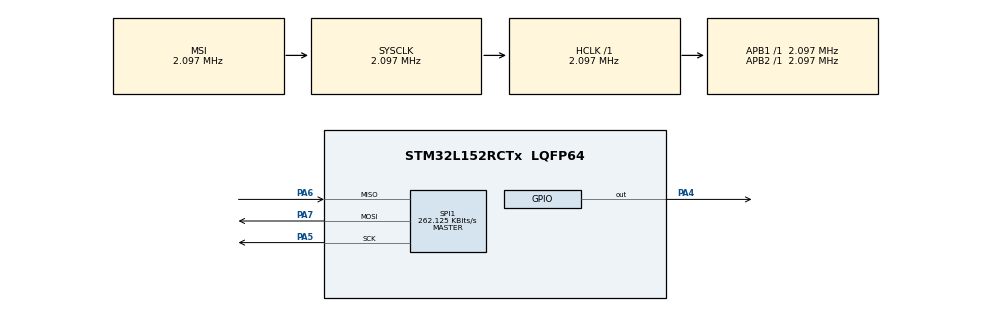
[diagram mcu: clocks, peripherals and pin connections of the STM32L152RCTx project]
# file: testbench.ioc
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Mcu.Family=STM32L1
RCC.MSI_VALUE=2097000
RCC.VCOOutputFreq_Value=48000000
PA6.Mode=Full_Duplex_Master
RCC.APB2Freq_Value=2097000
PA7.Mode=Full_Duplex_Master
SPI1.Mode=SPI_MODE_MASTER
SPI1.VirtualType=VM_MASTER
Mcu.Name=STM32L152RCTx
PA4.Signal=GPIO_Output
RCC.SYSCLKFreq_VALUE=2097000
Mcu.Package=LQFP64
PA6.Signal=SPI1_MISO
ProjectManager.StackSize=0x400
ProjectManager.HeapSize=0x200
ProjectManager.TargetToolchain=EWARM V8.32
RCC.HSI_VALUE=16000000
NVIC.PriorityGroup=NVIC_PRIORITYGROUP_4
SPI1.Direction=SPI_DIRECTION_2LINES
SPI1.CalculateBaudRate=262.125 KBits/s
RCC.APB1Freq_Value=2097000
RCC.LSE_VALUE=32768
SPI1.BaudRatePrescaler=SPI_BAUDRATEPRESCALER_8
RCC.AHBFreq_Value=2097000
PA5.Signal=SPI1_SCK
RCC.HSE_VALUE=24000000
PA7.Signal=SPI1_MOSI
PA5.Mode=Full_Duplex_Master
board=custom

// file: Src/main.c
/* USER CODE BEGIN Header */
/**
  ******************************************************************************
  * @file           : main.c
  * @brief          : Main program body
  ******************************************************************************
  * @attention
  *
  * <h2><center>&copy; Copyright (c) 2020 STMicroelectronics.
  * All rights reserved.</center></h2>
  *
  * This software component is licensed by ST under BSD 3-Clause license,
  * the "License"; You may not use this file except in compliance with the
  * License. You may obtain a copy of the License at:
  *                        opensource.org/licenses/BSD-3-Clause
  *
  ******************************************************************************
  */
/* USER CODE END Header */

#include "main.h"
#include "spi.h"
#include "gpio.h"

void SystemClock_Config(void);

/* USER CODE BEGIN 0 */

//FRF = 14226227
///int32_t  Ferr = 4000;
uint32_t Ftarget = 868300000 - 4000;
uint32_t frf = 0;
#define AFC

void SX1976_OnRX(uint8_t discard);
void SX1976_AFC(int32_t ferr);

#define SX1976_FRF_READ_MSB 0x06
#define SX1976_FRF_READ_MID 0x07
#define SX1976_FRF_READ_LSB 0x08

#define SX1976_FRF_WRITE_MSB 0x86
#define SX1976_FRF_WRITE_MID 0x87
#define SX1976_FRF_WRITE_LSB 0x88

//FRF = 14226227
#define FRF_868_3_MHZ_MSB 0xD9
#define FRF_868_3_MHZ_MID 0x13
#define FRF_868_3_MHZ_LSB 0x33

#define SX1976_FSK_PA_BOOST_READ 0x4d
#define SX1976_FSK_PA_BOOST_WRITE 0xcd

#define SX1976_FSK_PA_BOOST_ON 0x87
#define SX1976_FSK_PA_BOOST_OFF 0x84

#define SX1976_OP_MODE_READ 0x01
#define SX1976_OP_MODE_WRITE 0x81

#define OP_MODE_SLEEP 0x00
#define OP_MODE_STDBY 0x01
#define OP_MODE_TX    0x03
#define OP_MODE_RX_CONT    0x05
#define OP_MODE_RX_SINGLE    0x06
#define OP_MODE_CAD    0x07

#define OP_MODE_LF    0x08
#define OP_MODE_HF   0x00

#define OP_MODE_LORA   0x80

#define SX1976_PA_SELECT_READ 0x09
#define SX1976_PA_SELECT_WRITE 0x89

#define PA_SELECT_BOOST   0x80
#define PA_SELECT_NO_BOOST   0x00

#define PA_SELECT_NO_BOOST_MINUS_4dBm    0x00 // Pout=10.8-(15-OutputPower)
#define PA_SELECT_NO_BOOST_MINUS_3dBm    0x01 // Pout=10.8-(15-OutputPower)
#define PA_SELECT_NO_BOOST_MINUS_2dBm    0x02 // Pout=10.8-(15-OutputPower)
#define PA_SELECT_NO_BOOST_MINUS_1dBm    0x03 // Pout=10.8-(15-OutputPower)
#define PA_SELECT_NO_BOOST_0dBm    0x04 // Pout=10.8-(15-OutputPower)
#define PA_SELECT_NO_BOOST_1dBm    0x05 // Pout=10.8-(15-OutputPower)
#define PA_SELECT_NO_BOOST_2dBm    0x06 // Pout=10.8-(15-OutputPower)
#define PA_SELECT_NO_BOOST_3dBm    0x07 // Pout=10.8-(15-OutputPower)
#define PA_SELECT_NO_BOOST_4dBm    0x08 // Pout=10.8-(15-OutputPower)
#define PA_SELECT_NO_BOOST_5dBm    0x09 // Pout=10.8-(15-OutputPower)
#define PA_SELECT_NO_BOOST_6dBm    0x0a // Pout=10.8-(15-OutputPower)
#define PA_SELECT_NO_BOOST_7dBm    0x0b // Pout=10.8-(15-OutputPower)
#define PA_SELECT_NO_BOOST_8dBm    0x0c // Pout=10.8-(15-OutputPower)
#define PA_SELECT_NO_BOOST_9dBm    0x0d // Pout=10.8-(15-OutputPower)
#define PA_SELECT_NO_BOOST_10dBm    0x0e // Pout=10.8-(15-OutputPower)
#define PA_SELECT_NO_BOOST_11dBm    0x0f // Pout=10.8-(15-OutputPower)

#define PA_SELECT_BOOST_2dBm    0x00 // Pout=17-(15-OutputPower)
#define PA_SELECT_BOOST_3dBm    0x01 // Pout=17-(15-OutputPower)
#define PA_SELECT_BOOST_4dBm    0x02 // Pout=17-(15-OutputPower)
#define PA_SELECT_BOOST_5dBm    0x03 // Pout=17-(15-OutputPower)
#define PA_SELECT_BOOST_6dBm    0x04 // Pout=17-(15-OutputPower)
#define PA_SELECT_BOOST_7dBm    0x05 // Pout=17-(15-OutputPower)
#define PA_SELECT_BOOST_8dBm    0x06 // Pout=17-(15-OutputPower)
#define PA_SELECT_BOOST_9dBm    0x07 // Pout=17-(15-OutputPower)
#define PA_SELECT_BOOST_10dBm    0x08 // Pout=17-(15-OutputPower)
#define PA_SELECT_BOOST_11dBm    0x09 // Pout=17-(15-OutputPower)
#define PA_SELECT_BOOST_12dBm    0x0a // Pout=17-(15-OutputPower)
#define PA_SELECT_BOOST_13dBm    0x0b // Pout=17-(15-OutputPower)
#define PA_SELECT_BOOST_14dBm    0x0c // Pout=17-(15-OutputPower)
#define PA_SELECT_BOOST_15dBm    0x0d // Pout=17-(15-OutputPower)
#define PA_SELECT_BOOST_16dBm    0x0e // Pout=17-(15-OutputPower)
#define PA_SELECT_BOOST_17dBm    0x0f // Pout=17-(15-OutputPower)

#define SX1976_OCP_READ 0x0B
#define SX1976_OCP_WRITE 0x8B

#define SX1976_OCP_ON 0x20
#define SX1976_OCP_TRIM_240ma 27
#define SX1976_OCP_TRIM_230ma 26
#define SX1976_OCP_TRIM_220ma 25
#define SX1976_OCP_TRIM_210ma 24
#define SX1976_OCP_TRIM_200ma 23
#define SX1976_OCP_TRIM_190ma 22
#define SX1976_OCP_TRIM_180ma 21
#define SX1976_OCP_TRIM_170ma 20
#define SX1976_OCP_TRIM_160ma 19
#define SX1976_OCP_TRIM_150ma 18
#define SX1976_OCP_TRIM_140ma 17
#define SX1976_OCP_TRIM_130ma 16
#define SX1976_OCP_TRIM_120ma 15
#define SX1976_OCP_TRIM_115ma 14
#define SX1976_OCP_TRIM_110ma 13
#define SX1976_OCP_TRIM_105ma 12
#define SX1976_OCP_TRIM_100ma 11

#define SX1976_LNA_READ 0x0C
#define SX1976_LNA_WRITE 0x8C

#define SX1976_LNA_BOOST_HF_ON 0x03
#define SX1976_LNA_BOOST_HF_OFF 0x00

#define SX1976_LNA_GAIN_HIGHEST 0x20
#define SX1976_LNA_GAIN_G1 0x20
#define SX1976_LNA_GAIN_G2 0x40
#define SX1976_LNA_GAIN_G3 0x60
#define SX1976_LNA_GAIN_G4 0x80
#define SX1976_LNA_GAIN_G5 0xa0
#define SX1976_LNA_GAIN_G6 0xc0
#define SX1976_LNA_GAIN_LOWEST 0xc0

#define SX1976_DIO_MAPPING1_READ 0x40
#define SX1976_DIO_MAPPING1_WRITE 0xC0
#define SX1976_DIO0_RX_DONE 0x00
#define SX1976_DIO0_TX_DONE 0x40
#define SX1976_DIO0_CAD_DONE 0x80

#define SX1976_MODEM_CONFIG1_READ 0x1D
#define SX1976_MODEM_CONFIG1_WRITE 0x9D

#define MODEM_CONFIG1_HM_EXPLICIT 0x00
#define MODEM_CONFIG1_HM_IMPLICIT 0x01
#define MODEM_CONFIG1_BW_125khz 0x70
#define MODEM_CONFIG1_CR_4_5 0x02

#define SX1976_MODEM_CONFIG2_READ 0x1E
#define SX1976_MODEM_CONFIG2_WRITE 0x9E

#define MODEM_CONFIG2_CRC_ON 0x04
#define MODEM_CONFIG2_CRC_OFF 0x00

#define MODEM_CONFIG2_SF_64 0x60
#define MODEM_CONFIG2_SF_128 0x70
#define MODEM_CONFIG2_SF_256 0x80
#define MODEM_CONFIG2_SF_512 0x90
#define MODEM_CONFIG2_SF_1024 0xa0
#define MODEM_CONFIG2_SF_2048 0xb0
#define MODEM_CONFIG2_SF_4096 0xc0

#define SX1976_MODEM_CONFIG3_READ 0x26
#define SX1976_MODEM_CONFIG3_WRITE 0xa6

#define MODEM_CONFIG3_AGC_ON 0x04
#define MODEM_CONFIG3_AGC_OFF 0x00
#define MODEM_CONFIG3_LDR_OPT 0x08
#define MODEM_CONFIG3_NO_LDR_OPT 0x00

#define SX1976_PAYLOAD_LEN_READ 0x22
#define SX1976_PAYLOAD_LEN_WRITE 0xA2

#define SX1976_MAX_PAYLOAD_LEN_READ 0x23
#define SX1976_MAX_PAYLOAD_LEN_WRITE 0xA3

#define SX1976_FIFO_ADDR_PTR_READ 0x0D
#define SX1976_FIFO_ADDR_PTR_WRITE 0x8D

#define SX1976_FIFO_ADDR_RX_BASE_READ 0x0F
#define SX1976_FIFO_ADDR_RX_BASE_WRITE 0x8F

#define SX1976_FIFO_ADDR_TX_BASE_READ 0x0E
#define SX1976_FIFO_ADDR_TX_BASE_WRITE 0x8E

#define SX1976_FIFO_ADDR_RX_CURRENT_READ 0x10
#define SX1976_FIFO_ADDR_RX_CURRENT_WRITE 0x90

#define SX1976_FIFO_RX_BYTES_NB_READ 0x13
#define SX1976_FIFO_RX_BYTES_NB_WRITE 0x93

#define SX1976_IRQ_FLAGS_READ 0x12
#define SX1976_IRQ_FLAGS_WRITE 0x92

#define IRQ_RX_TIMEOUT 0x80
#define IRQ_RX_DONE 0x40
#define IRQ_PAYLOAD_CRC_ERROR 0x20
#define IRQ_VALID_HEADER 0x10
#define IRQ_TX_DONE 0x08
#define IRQ_CAD_DONE 0x04
#define IRQ_FHSS_CHANGE_CHANNEL 0x02
#define IRQ_CAD_DETECTED 0x01

#define SX1976_FIFO_READ 0x00
#define SX1976_FIFO_WRITE 0x80

#define SX1976_PKT_SNR 0x19
#define SX1976_PKT_RSSI 0x1A

#define SX1976_FEI_LSB 0x2A
#define SX1976_FEI_MID 0x29
#define SX1976_FEI_MSB 0x28

#define SX1976_PPM_CORRECTION 0x27

void SX1976_OnTX(void);
void SX1976_Poll(void);

static void write_and_retry(uint8_t addr, uint8_t val) {
  while(1) {
    // Write
    uint8_t outputBuffer[2] = {addr | 0x80, val};
    uint8_t inputBuffer[1] = {0};

    HAL_GPIO_WritePin(GPIOA, GPIO_PIN_4, GPIO_PIN_RESET);
    if (HAL_SPI_Transmit(&hspi1, outputBuffer, 2, 1000) != HAL_OK) {
      Error_Handler();
    }
    HAL_GPIO_WritePin(GPIOA, GPIO_PIN_4, GPIO_PIN_SET);

    // Verify
    HAL_GPIO_WritePin(GPIOA, GPIO_PIN_4, GPIO_PIN_RESET);
    outputBuffer[0] = addr;
    if (HAL_SPI_Transmit(&hspi1, outputBuffer, 1, 1000) != HAL_OK) {
      Error_Handler();
    }
    if (HAL_SPI_Receive (&hspi1, inputBuffer, 1, 1000) != HAL_OK) {
      Error_Handler();
    }
    HAL_GPIO_WritePin(GPIOA, GPIO_PIN_4, GPIO_PIN_SET);
    if (inputBuffer[0] == val) {
      break;
    }
  }
}

static void write_and_verify(uint8_t addr, uint8_t val) {
  // Write
  uint8_t outputBuffer[2] = {addr | 0x80, val};
  uint8_t inputBuffer[1] = {0};

  HAL_GPIO_WritePin(GPIOA, GPIO_PIN_4, GPIO_PIN_RESET);
  if (HAL_SPI_Transmit(&hspi1, outputBuffer, 2, 1000) != HAL_OK) {
    Error_Handler();
  }
  HAL_GPIO_WritePin(GPIOA, GPIO_PIN_4, GPIO_PIN_SET);

  // Verify
  HAL_GPIO_WritePin(GPIOA, GPIO_PIN_4, GPIO_PIN_RESET);
  outputBuffer[0] = addr;
  if (HAL_SPI_Transmit(&hspi1, outputBuffer, 1, 1000) != HAL_OK) {
    Error_Handler();
  }
  if (HAL_SPI_Receive (&hspi1, inputBuffer, 1, 1000) != HAL_OK) {
    Error_Handler();
  }
  HAL_GPIO_WritePin(GPIOA, GPIO_PIN_4, GPIO_PIN_SET);
  if (inputBuffer[0] != val) {
    Error_Handler();
  }
}

static uint8_t read(uint8_t addr) {
  uint8_t outputBuffer[1] = {addr};
  uint8_t inputBuffer[1] = {0};

  // Read
  HAL_GPIO_WritePin(GPIOA, GPIO_PIN_4, GPIO_PIN_RESET);
  if (HAL_SPI_Transmit(&hspi1, outputBuffer, 1, 1000) != HAL_OK) {
    Error_Handler();
  }
  if (HAL_SPI_Receive (&hspi1, inputBuffer, 1, 1000) != HAL_OK) {
    Error_Handler();
  }
  HAL_GPIO_WritePin(GPIOA, GPIO_PIN_4, GPIO_PIN_SET);

  return inputBuffer[0];
}

static void write(uint8_t addr, uint8_t val) {
  uint8_t outputBuffer[2] = {addr | 0x80, val};

  // Read
  HAL_GPIO_WritePin(GPIOA, GPIO_PIN_4, GPIO_PIN_RESET);
  if (HAL_SPI_Transmit(&hspi1, outputBuffer, 2, 1000) != HAL_OK) {
    Error_Handler();
  }
  HAL_GPIO_WritePin(GPIOA, GPIO_PIN_4, GPIO_PIN_SET);
}

uint8_t tx = 1;

void SX1976_Poll(void)
{
    // Read Int Flags
    uint8_t flags = read(SX1976_IRQ_FLAGS_READ);

    if (flags & IRQ_RX_DONE) {
      SX1976_OnRX(flags & IRQ_PAYLOAD_CRC_ERROR);
    }
    if (flags & IRQ_TX_DONE) {
      SX1976_OnTX();
    }
    // Reset IRQs
    write(SX1976_IRQ_FLAGS_READ, flags);
    if (tx) {
      // Go to TX
      write_and_retry(SX1976_OP_MODE_READ, OP_MODE_TX | OP_MODE_HF | OP_MODE_LORA);
    }
}

void SX1976_RX_Reset(void) {
  // Configure FIFO buffer ptr to be set to RX Base Addr
  write_and_verify(SX1976_FIFO_ADDR_PTR_READ, 0x00);
  // Configure RX Current Write to be aligned as well
  write_and_verify(SX1976_FIFO_ADDR_RX_CURRENT_READ, 0x00);
}

void SX1976_TX_Reset(void) {
  // Configure FIFO buffer ptr to be set to RX Base Addr
  write_and_verify(SX1976_FIFO_ADDR_PTR_READ, 0x80);
}

uint8_t counter = 0;
void SX1976_OnTX(void) {
  uint8_t outputBuffer[17] = {0,12,34,56,78,0,0,0,0,0,0,0,0,0,0,0,counter++};
  // move Ptr to beginning of mem
  write(SX1976_FIFO_ADDR_PTR_READ, 0x80);

  HAL_GPIO_WritePin(GPIOA, GPIO_PIN_4, GPIO_PIN_RESET);
  outputBuffer[0] = SX1976_FIFO_WRITE;
  if (HAL_SPI_Transmit(&hspi1, outputBuffer, 17, 1000) != HAL_OK) {
    Error_Handler();
  }
  HAL_GPIO_WritePin(GPIOA, GPIO_PIN_4, GPIO_PIN_SET);
}

int32_t Ferr_old = 100000; // moved by 100000 to positive side to avoid issues while calc IIR.
uint8_t suspend_afr = 16;

void SX1976_OnRX(uint8_t discard) {
  uint8_t outputBuffer[2] = {0,0};
  uint8_t inputBuffer[16] = {0,0,0,0,0,0,0,0,0,0,0,0,0,0,0,0};
  // Read Current Addr
  uint8_t currentAddr = read(SX1976_FIFO_ADDR_RX_CURRENT_READ);

  // move Ptr to current addr
  write(SX1976_FIFO_ADDR_PTR_READ, currentAddr);

  // Read number of bytes
  uint8_t bytesCount = read(SX1976_FIFO_RX_BYTES_NB_READ);
  HAL_GPIO_WritePin(GPIOA, GPIO_PIN_4, GPIO_PIN_RESET);
  outputBuffer[0] = SX1976_FIFO_READ;
  if (HAL_SPI_Transmit(&hspi1, outputBuffer, 1, 1000) != HAL_OK) {
    Error_Handler();
  }
  // it should never be > packetSize?
  while (bytesCount > 0) {
    // Read Fifo
    if (HAL_SPI_Receive (&hspi1, inputBuffer, 16, 1000) != HAL_OK) {
      Error_Handler();
    }
    bytesCount -= 16;
  }
  HAL_GPIO_WritePin(GPIOA, GPIO_PIN_4, GPIO_PIN_SET);

  uint8_t rssi = read(SX1976_PKT_RSSI);
  int8_t snr = read(SX1976_PKT_RSSI);

  int16_t snrDb = snr / 4;
  int16_t rssiDb;
  if( snrDb >= 0) {
    rssiDb = -157 + rssi;
    if (rssiDb > -100) {
      // recalc with slope comp.
      rssiDb = -157 + ((16 * rssi) / 15);
    }
  } else {
    rssiDb = -157 + rssi + snrDb;
  }

  uint8_t fei_msb = read(SX1976_FEI_MSB);
  uint8_t fei_mid = read(SX1976_FEI_MID);
  uint8_t fei_lsb = read(SX1976_FEI_LSB);

  int32_t fei = (((fei_msb & 0x0f) << 28) | (fei_mid << 20) | (fei_lsb << 12));
  fei = fei >> 12;
  // Move to positive side to avoid issues while crossing zero
  int32_t Ferr = (fei * 100) / 764  + 100000;

#ifdef AFC
  // dont use AFC if we have bad CRC, we will re-enable it once we will have stable link, i.e. 16 non-errored packets.
  if (discard != 0) {
    suspend_afr = 16;
  }
  if (discard == 0 && suspend_afr > 0) {
    suspend_afr--;
  }
  //
  if (suspend_afr == 0) {
    // IIR filter Ferr with Coeff 8
    Ferr_old = (Ferr_old * 7 + Ferr) / 8;
    //
    SX1976_AFC(Ferr_old - 100000);
  }
#endif
}

void SX1976_AFC(int32_t ferr) {
  frf = (uint32_t)(((int64_t)Ftarget - (int64_t)ferr) * 100000000 / 6103515625);
  int32_t offset = ((int32_t)ferr * 950000) / (int32_t)Ftarget;
  int8_t offset_8 = (int8_t)offset;
  // Set Ferr offset
  write_and_verify(SX1976_PPM_CORRECTION, offset_8);

  uint8_t outputBuffer[4] = {SX1976_FRF_WRITE_MSB, (frf >> 16) & 0xff, (frf >> 8) & 0xff, frf & 0xff};
  uint8_t inputBuffer[3];

  HAL_GPIO_WritePin(GPIOA, GPIO_PIN_4, GPIO_PIN_RESET);
  if (HAL_SPI_Transmit(&hspi1, outputBuffer, 4, 1000) != HAL_OK) {
    Error_Handler();
  }
  HAL_GPIO_WritePin(GPIOA, GPIO_PIN_4, GPIO_PIN_SET);

  // Read FRF
  HAL_GPIO_WritePin(GPIOA, GPIO_PIN_4, GPIO_PIN_RESET);
  outputBuffer[0] = SX1976_FRF_READ_MSB;
  if (HAL_SPI_Transmit(&hspi1, outputBuffer, 1, 1000) != HAL_OK) {
    Error_Handler();
  }
  if (HAL_SPI_Receive (&hspi1, inputBuffer, 3, 1000) != HAL_OK) {
    Error_Handler();
  }
  HAL_GPIO_WritePin(GPIOA, GPIO_PIN_4, GPIO_PIN_SET);
  // assert
  if (inputBuffer[0] != ((frf >> 16) & 0xff) ||
      inputBuffer[1] != ((frf >> 8) & 0xff) ||
        inputBuffer[2] != (frf & 0xff))
  {
    Error_Handler();
  }
}

uint32_t SX1976_Init(void) {
  uint8_t outputBuffer[4] = {0,0,0,0};
  uint8_t inputBuffer[3];

  // Go to sleep and Set Lora mode
  write_and_retry(SX1976_OP_MODE_READ, OP_MODE_SLEEP | OP_MODE_HF | OP_MODE_LORA);
  write_and_retry(SX1976_OP_MODE_READ, OP_MODE_STDBY | OP_MODE_HF | OP_MODE_LORA);
  // Reset ALL IRQs
  write(SX1976_IRQ_FLAGS_READ, 0xff);

  // Set FRF
  outputBuffer[0] = SX1976_FRF_WRITE_MSB;
  outputBuffer[1] = FRF_868_3_MHZ_MSB;
  outputBuffer[2] = FRF_868_3_MHZ_MID;
  outputBuffer[3] = FRF_868_3_MHZ_LSB;

  HAL_GPIO_WritePin(GPIOA, GPIO_PIN_4, GPIO_PIN_RESET);
  if (HAL_SPI_Transmit(&hspi1, outputBuffer, 4, 1000) != HAL_OK) {
    Error_Handler();
  }
  HAL_GPIO_WritePin(GPIOA, GPIO_PIN_4, GPIO_PIN_SET);
  // Read FRF
  HAL_GPIO_WritePin(GPIOA, GPIO_PIN_4, GPIO_PIN_RESET);
  outputBuffer[0] = SX1976_FRF_READ_MSB;
  if (HAL_SPI_Transmit(&hspi1, outputBuffer, 1, 1000) != HAL_OK) {
    Error_Handler();
  }
  if (HAL_SPI_Receive (&hspi1, inputBuffer, 3, 1000) != HAL_OK) {
    Error_Handler();
  }
  HAL_GPIO_WritePin(GPIOA, GPIO_PIN_4, GPIO_PIN_SET);
  // assert
  if (inputBuffer[0] != FRF_868_3_MHZ_MSB ||
      inputBuffer[1] != FRF_868_3_MHZ_MID ||
        inputBuffer[2] != FRF_868_3_MHZ_LSB)
  {
    Error_Handler();
  }

  // Set power level and select PA_BOOST
  write_and_verify(SX1976_PA_SELECT_READ, PA_SELECT_NO_BOOST_MINUS_4dBm | PA_SELECT_NO_BOOST);
  // Configure OCP
  write_and_verify(SX1976_OCP_READ, SX1976_OCP_ON | SX1976_OCP_TRIM_110ma);
  // Configure LNA
  write(SX1976_LNA_READ, SX1976_LNA_BOOST_HF_ON | SX1976_LNA_GAIN_HIGHEST);
  // Configure Implicit header mode
  write_and_verify(SX1976_MODEM_CONFIG1_READ, MODEM_CONFIG1_HM_IMPLICIT | MODEM_CONFIG1_BW_125khz | MODEM_CONFIG1_CR_4_5);
  // Configure CRC ON
  write_and_verify(SX1976_MODEM_CONFIG2_READ, MODEM_CONFIG2_CRC_ON | MODEM_CONFIG2_SF_128);
  // Configure AGC ON
  write_and_verify(SX1976_MODEM_CONFIG3_READ, MODEM_CONFIG3_AGC_ON | MODEM_CONFIG3_NO_LDR_OPT);

  // configure PayloadLength to be fixed 16 Bytes
  write_and_verify(SX1976_PAYLOAD_LEN_READ, 16);

  // configure MaxPayloadLength to be fixed 16 Bytes
  write_and_verify(SX1976_MAX_PAYLOAD_LEN_READ, 16);

  // Configure TX Base Addr
  write_and_verify(SX1976_FIFO_ADDR_TX_BASE_READ, 0x80);

  // Configure RX Base Addr
  write_and_verify(SX1976_FIFO_ADDR_RX_BASE_READ, 0x00);

  if (tx) {
    SX1976_TX_Reset(); // Reset pointers
  } else {
    SX1976_RX_Reset(); // Reset pointers
  }

  if (tx) {
    // Configure DIO0 as TXDONE
    write_and_verify(SX1976_DIO_MAPPING1_READ, SX1976_DIO0_TX_DONE);
  } else {
    // Configure DIO0 as RXDONE
    write_and_verify(SX1976_DIO_MAPPING1_READ, SX1976_DIO0_RX_DONE);
  }

  if (tx) {
    // Go to TX
    write_and_retry(SX1976_OP_MODE_READ, OP_MODE_TX | OP_MODE_HF | OP_MODE_LORA);
  } else {
    // Go to continous RX
    write_and_retry(SX1976_OP_MODE_READ, OP_MODE_RX_CONT | OP_MODE_HF | OP_MODE_LORA);
  }

  return 0;
}

/* USER CODE END 0 */

int main(void)
{

  /* MCU Configuration--------------------------------------------------------*/

  /* Reset of all peripherals, Initializes the Flash interface and the Systick. */
  HAL_Init();

  /* Configure the system clock */
  SystemClock_Config();

  /* Initialize all configured peripherals */
  MX_GPIO_Init();
  MX_SPI1_Init();
  /* USER CODE BEGIN 2 */
  SX1976_Init();
  /* USER CODE END 2 */

  /* Infinite loop */
  while (1)
  {
    SX1976_Poll();
    HAL_Delay(1000);
  }
}

void SystemClock_Config(void)
{
  RCC_OscInitTypeDef RCC_OscInitStruct = {0};
  RCC_ClkInitTypeDef RCC_ClkInitStruct = {0};

  /** Configure the main internal regulator output voltage
  */
  __HAL_PWR_VOLTAGESCALING_CONFIG(PWR_REGULATOR_VOLTAGE_SCALE1);
  /** Initializes the CPU, AHB and APB busses clocks
  */
  RCC_OscInitStruct.OscillatorType = RCC_OSCILLATORTYPE_MSI;
  RCC_OscInitStruct.MSIState = RCC_MSI_ON;
  RCC_OscInitStruct.MSICalibrationValue = 0;
  RCC_OscInitStruct.MSIClockRange = RCC_MSIRANGE_5;
  RCC_OscInitStruct.PLL.PLLState = RCC_PLL_NONE;
  if (HAL_RCC_OscConfig(&RCC_OscInitStruct) != HAL_OK)
  {
    Error_Handler();
  }
  /** Initializes the CPU, AHB and APB busses clocks
  */
  RCC_ClkInitStruct.ClockType = RCC_CLOCKTYPE_HCLK|RCC_CLOCKTYPE_SYSCLK
                              |RCC_CLOCKTYPE_PCLK1|RCC_CLOCKTYPE_PCLK2;
  RCC_ClkInitStruct.SYSCLKSource = RCC_SYSCLKSOURCE_MSI;
  RCC_ClkInitStruct.AHBCLKDivider = RCC_SYSCLK_DIV1;
  RCC_ClkInitStruct.APB1CLKDivider = RCC_HCLK_DIV1;
  RCC_ClkInitStruct.APB2CLKDivider = RCC_HCLK_DIV1;

  if (HAL_RCC_ClockConfig(&RCC_ClkInitStruct, FLASH_LATENCY_0) != HAL_OK)
  {
    Error_Handler();
  }
}

void Error_Handler(void)
{
  while(1) {
  }
}

/************************ (C) COPYRIGHT STMicroelectronics *****END OF FILE****/
